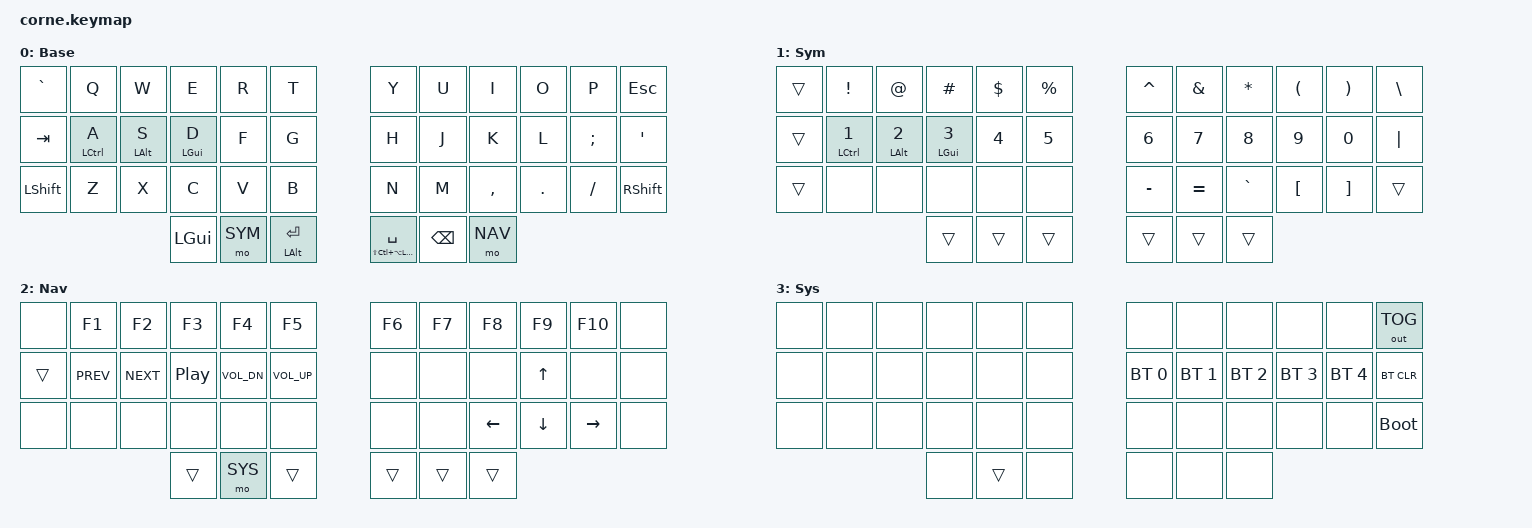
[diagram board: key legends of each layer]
/*
 * 2026 Corne -- ZMK port of the QMK "hunter" keymap  (v1.5)
 * Copyright 2026 Hunter
 * SPDX-License-Identifier: MIT
 *
 * Shield: corne (42 keys, 3x6+3)   Board: nice!nano
 *
 * Key positions, for combos and hold-trigger lists:
 *
 *    0  1  2  3  4  5      6  7  8  9 10 11
 *   12 13 14 15 16 17     18 19 20 21 22 23
 *   24 25 26 27 28 29     30 31 32 33 34 35
 *            36 37 38     39 40 41
 */

#include <behaviors.dtsi>
#include <dt-bindings/zmk/keys.h>
#include <dt-bindings/zmk/bt.h>
#include <dt-bindings/zmk/outputs.h>
#include <dt-bindings/zmk/rgb.h>

#define BASE 0
#define SYM  1
#define NAV  2
#define SYS  3

/* Every key on the right half, plus all six thumbs. A left-hand home row mod
 * may only resolve as a hold when one of these is the next key -- this is the
 * ZMK equivalent of QMK's CHORDAL_HOLD opposite-hands rule. Thumbs are
 * included so Alt+Enter and Hyper+Space still chord with either hand. */
#define RIGHT_HAND_AND_THUMBS  6 7 8 9 10 11 18 19 20 21 22 23 30 31 32 33 34 35 36 37 38 39 40 41

/ {
    behaviors {
        /* ------------------------------------------------------------------
         * Home row mods, one behavior per finger so the tapping terms match
         * the wired board exactly (pinky 220, ring 210, middle 200).
         *
         *   flavor = "balanced"        -> QMK PERMISSIVE_HOLD
         *   require-prior-idle-ms      -> QMK FLOW_TAP_TERM
         *   hold-trigger-key-positions -> QMK CHORDAL_HOLD
         *   quick-tap-ms omitted       -> QMK QUICK_TAP_TERM 0
         * ------------------------------------------------------------------ */
        hmp: home_row_pinky {
            compatible = "zmk,behavior-hold-tap";
            #binding-cells = <2>;
            flavor = "balanced";
            tapping-term-ms = <220>;
            require-prior-idle-ms = <150>;
            bindings = <&kp>, <&kp>;
            hold-trigger-key-positions = <RIGHT_HAND_AND_THUMBS>;
            hold-trigger-on-release;
        };

        hmr: home_row_ring {
            compatible = "zmk,behavior-hold-tap";
            #binding-cells = <2>;
            flavor = "balanced";
            tapping-term-ms = <210>;
            require-prior-idle-ms = <150>;
            bindings = <&kp>, <&kp>;
            hold-trigger-key-positions = <RIGHT_HAND_AND_THUMBS>;
            hold-trigger-on-release;
        };

        hmm: home_row_middle {
            compatible = "zmk,behavior-hold-tap";
            #binding-cells = <2>;
            flavor = "balanced";
            tapping-term-ms = <200>;
            require-prior-idle-ms = <150>;
            bindings = <&kp>, <&kp>;
            hold-trigger-key-positions = <RIGHT_HAND_AND_THUMBS>;
            hold-trigger-on-release;
        };

        /* Thumbs: fast, and exempt from the opposite-hands rule. */
        thm: thumb_mod {
            compatible = "zmk,behavior-hold-tap";
            #binding-cells = <2>;
            flavor = "balanced";
            tapping-term-ms = <160>;
            bindings = <&kp>, <&kp>;
        };
    };

    combos {
        compatible = "zmk,combos";

        /* Brackets, right hand, base layer only. Timeouts match the wired
         * board. 'ui' and 'yu' are real letter pairs, so those two are
         * tighter. If one still misfires, add require-prior-idle-ms = <100>;
         * to that combo -- it suppresses the combo mid-word. */
        combo_lpar { key-positions = < 6  7>; bindings = <&kp LPAR>; timeout-ms = <28>; layers = <BASE>; };
        combo_rpar { key-positions = < 7  8>; bindings = <&kp RPAR>; timeout-ms = <25>; layers = <BASE>; };
        combo_lbkt { key-positions = <18 19>; bindings = <&kp LBKT>; timeout-ms = <30>; layers = <BASE>; };
        combo_rbkt { key-positions = <19 20>; bindings = <&kp RBKT>; timeout-ms = <30>; layers = <BASE>; };
        combo_lbrc { key-positions = <30 31>; bindings = <&kp LBRC>; timeout-ms = <30>; layers = <BASE>; };
        combo_rbrc { key-positions = <31 32>; bindings = <&kp RBRC>; timeout-ms = <30>; layers = <BASE>; };

        /* Both Shift keys together -> Caps Word.
         * This is the ZMK stand-in for QMK's BOTH_SHIFTS_TURNS_ON_CAPS_WORD. */
        combo_caps { key-positions = <24 35>; bindings = <&caps_word>; timeout-ms = <50>; };
    };

    keymap {
        compatible = "zmk,keymap";

        base_layer {
            display-name = "Base";
// ---------------------------------------------------------------------------
// |  `  |  Q  |  W  |  E  |  R  |  T  |   |  Y  |  U  |  I  |  O  |  P  | Esc |
// | Tab |A/Ctl|S/Alt|D/Gui|  F  |  G  |   |  H  |  J  |  K  |  L  |  ;  |  '  |
// |Shift|  Z  |  X  |  C  |  V  |  B  |   |  N  |  M  |  ,  |  .  |  /  |Shift|
//                   | Gui | SYM |Ent/Alt|  |Spc/Hyp| Bspc| NAV |
            bindings = <
&kp GRAVE  &kp Q          &kp W         &kp E          &kp R  &kp T   &kp Y      &kp U     &kp I      &kp O    &kp P     &kp ESC
&kp TAB    &hmp LCTRL A   &hmr LALT S   &hmm LGUI D    &kp F  &kp G   &kp H      &kp J     &kp K      &kp L    &kp SEMI  &kp SQT
&kp LSHFT  &kp Z          &kp X         &kp C          &kp V  &kp B   &kp N      &kp M     &kp COMMA  &kp DOT  &kp FSLH  &kp RSHFT
                            &kp LGUI  &mo SYM  &thm LALT RET   &thm LS(LC(LA(LGUI))) SPACE  &kp BSPC  &mo NAV
            >;
        };

        sym_layer {
            display-name = "Sym";
// ---------------------------------------------------------------------------
// |     |  !  |  @  |  #  |  $  |  %  |   |  ^  |  &  |  *  |  (  |  )  |  \  |
// |     |1/Ctl|2/Alt|3/Gui|  4  |  5  |   |  6  |  7  |  8  |  9  |  0  |  |  |
// |     |     |     |     |     |     |   |  -  |  =  |  `  |  [  |  ]  |     |
            bindings = <
&trans  &kp EXCL        &kp AT         &kp HASH       &kp DLLR  &kp PRCNT   &kp CARET  &kp AMPS   &kp ASTRK  &kp LPAR  &kp RPAR  &kp BSLH
&trans  &hmp LCTRL N1   &hmr LALT N2   &hmm LGUI N3   &kp N4    &kp N5      &kp N6     &kp N7     &kp N8     &kp N9    &kp N0    &kp PIPE
&trans  &none           &none          &none          &none     &none       &kp MINUS  &kp EQUAL  &kp GRAVE  &kp LBKT  &kp RBKT  &trans
                                    &trans  &trans  &trans        &trans  &trans  &trans
            >;
        };

        nav_layer {
            display-name = "Nav";
// ---------------------------------------------------------------------------
// |     | F1  | F2  | F3  | F4  | F5  |   | F6  | F7  | F8  | F9  | F10 |     |
// |     |Prev |Next |Play |Vol- |Vol+ |   |     |     |     | Up  |     |     |
// |     |     |     |     |     |     |   |     |     |Left |Down |Rght |     |
//                   |     | SYS |     |   |     |     |HELD |
            bindings = <
&none   &kp F1      &kp F2      &kp F3   &kp F4        &kp F5         &kp F6  &kp F7  &kp F8    &kp F9    &kp F10    &none
&trans  &kp C_PREV  &kp C_NEXT  &kp C_PP &kp C_VOL_DN  &kp C_VOL_UP   &none   &none   &none     &kp UP    &none      &none
&none   &none       &none       &none    &none         &none          &none   &none   &kp LEFT  &kp DOWN  &kp RIGHT  &none
                                    &trans  &mo SYS  &trans        &trans  &trans  &trans
            >;
        };

        sys_layer {
            display-name = "Sys";
// ---------------------------------------------------------------------------
// Wireless housekeeping. The wired board uses this layer for RGB; a
// battery-powered board needs Bluetooth controls far more.
//
// |     |     |     |     |     |     |   |     |     |     |     |     |Out  |
// |     |     |     |     |     |     |   | BT0 | BT1 | BT2 | BT3 | BT4 |BTclr|
// |     |     |     |     |     |     |   |     |     |     |     |     |Boot |
//
// To restore the wired board's RGB controls on the left hand, first set
// CONFIG_ZMK_RGB_UNDERGLOW=y in corne.conf, then replace the left-hand
// bindings on rows 2 and 3 with:
//   &none &rgb_ug RGB_EFF &rgb_ug RGB_HUI &rgb_ug RGB_SAI &rgb_ug RGB_BRI &rgb_ug RGB_SPI
//   &rgb_ug RGB_TOG &rgb_ug RGB_EFR &rgb_ug RGB_HUD &rgb_ug RGB_SAD &rgb_ug RGB_BRD &rgb_ug RGB_SPD
            bindings = <
&none   &none  &none  &none  &none  &none    &none         &none         &none         &none         &none         &out OUT_TOG
&none   &none  &none  &none  &none  &none    &bt BT_SEL 0  &bt BT_SEL 1  &bt BT_SEL 2  &bt BT_SEL 3  &bt BT_SEL 4  &bt BT_CLR
&none   &none  &none  &none  &none  &none    &none         &none         &none         &none         &none         &bootloader
                                &none  &trans  &none      &none  &none  &none
            >;
        };
    };
};

/* Caps Word tuning.
 *
 * NOTE: ZMK applies the shift only to A-Z, so '-' stays '-' here instead of
 * becoming '_' the way it does on the QMK board. Keeping MINUS and UNDERSCORE
 * in the continue list at least means neither one breaks the word. */
&caps_word {
    continue-list = <UNDERSCORE MINUS BACKSPACE DELETE>;
};
